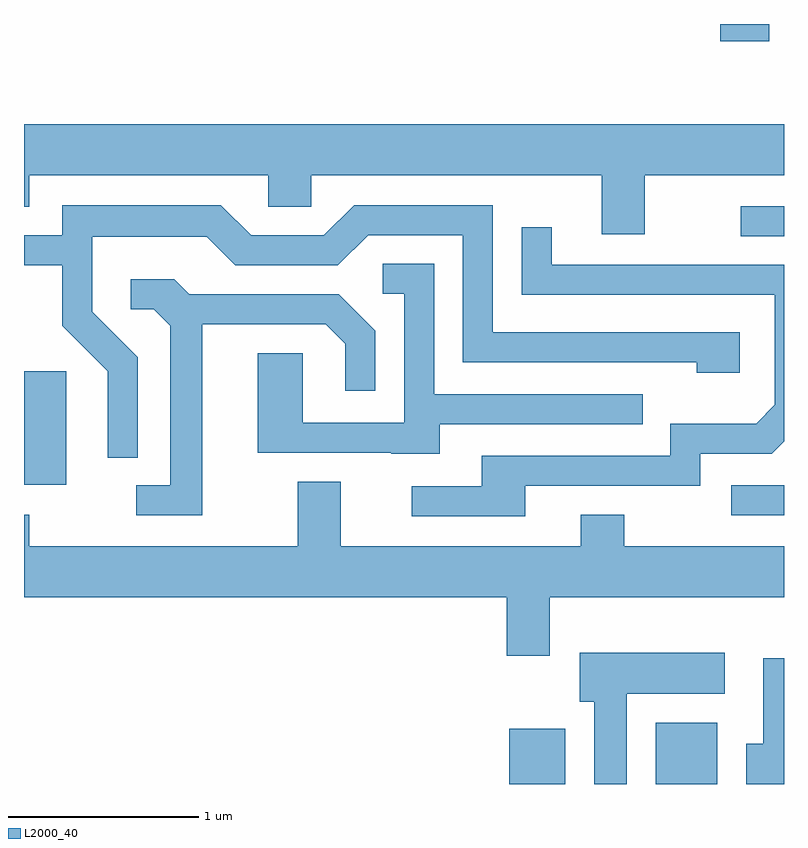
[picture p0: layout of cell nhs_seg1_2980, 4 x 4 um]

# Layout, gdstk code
import gdstk
lib = gdstk.Library(unit=1e-6, precision=1e-09)
def R(c, l, rs):  # rectangles x0, y0, x1, y1
    for r in rs: c.add(gdstk.rectangle(r[:2], r[2:], *l))
def P(c, l, *ps):  # polygons
    for p in ps: c.add(gdstk.Polygon(p, *l))
L2000_40 = (2000, 40)

nhs_seg1_2980 = lib.new_cell('nhs_seg1_2980')
R(nhs_seg1_2980, L2000_40, [(278.166,889.712,278.459,890.004), (278.936,889.712,279.259,890.034), (279.333,891.126,279.611,891.284), (275.611,891.286,275.834,891.884), (279.383,892.596,279.611,892.754), (279.276,893.621,279.534,893.712)])
P(nhs_seg1_2980, L2000_40, [(278.879,892.916),(279.611,892.916),(279.611,893.184),(275.611,893.184),(275.611,892.751),(275.639,892.751),(275.639,892.916),(276.896,892.916),(276.896,892.751),(277.124,892.751),(277.124,892.916),(278.651,892.916),(278.651,892.606),(278.879,892.606)],
  [(276.209,891.957),(275.969,892.197),(275.969,892.591),(276.574,892.591),(276.724,892.441),(277.262,892.441),(277.422,892.601),(277.921,892.601),(277.921,891.931),(279.151,891.931),(279.151,891.876),(279.379,891.876),(279.379,892.089),(278.079,892.089),(278.079,892.759),(277.349,892.759),(277.189,892.599),(276.807,892.599),(276.647,892.759),(275.811,892.759),(275.811,892.599),(275.611,892.599),(275.611,892.441),(275.811,892.441),(275.811,892.124),(276.051,891.884),(276.051,891.428),(276.209,891.428)],
  [(278.249,891.281),(279.169,891.281),(279.169,891.451),(279.547,891.451),(279.611,891.515),(279.611,892.444),(278.389,892.444),(278.389,892.643),(278.231,892.643),(278.231,892.286),(279.561,892.286),(279.561,891.707),(279.464,891.609),(279.011,891.609),(279.011,891.439),(278.021,891.439),(278.021,891.279),(277.653,891.279),(277.653,891.121),(278.249,891.121)],
  [(277.799,891.606),(278.868,891.606),(278.868,891.764),(277.769,891.764),(277.769,892.449),(277.498,892.449),(277.498,892.291),(277.611,892.291),(277.611,891.614),(277.079,891.614),(277.079,891.979),(276.841,891.979),(276.841,891.456),(277.545,891.456),(277.545,891.451),(277.799,891.451)],
  [(276.549,892.131),(277.199,892.131),(277.301,892.029),(277.301,891.783),(277.459,891.783),(277.459,892.097),(277.267,892.289),(276.482,892.289),(276.402,892.369),(276.173,892.369),(276.173,892.211),(276.294,892.211),(276.381,892.124),(276.381,891.284),(276.203,891.284),(276.203,891.126),(276.549,891.126)],
  [(278.379,890.696),(279.611,890.696),(279.611,890.964),(278.769,890.964),(278.769,891.129),(278.541,891.129),(278.541,890.964),(277.279,890.964),(277.279,891.304),(277.051,891.304),(277.051,890.964),(275.639,890.964),(275.639,891.129),(275.611,891.129),(275.611,890.696),(278.151,890.696),(278.151,890.386),(278.379,890.386)],
  [(278.784,890.186),(279.299,890.186),(279.299,890.404),(278.536,890.404),(278.536,890.146),(278.611,890.146),(278.611,889.712),(278.784,889.712)],
  [(279.611,890.374),(279.501,890.374),(279.501,889.924),(279.411,889.924),(279.411,889.712),(279.611,889.712)])

lib.write_gds('nhs_seg1_2980.gds')
